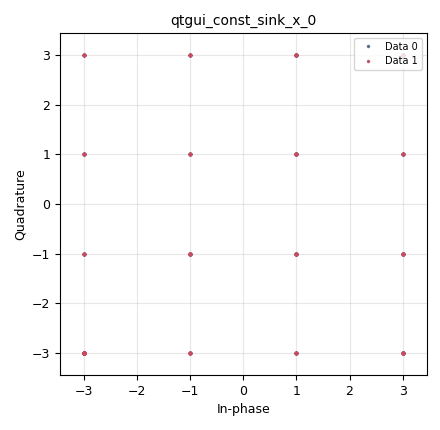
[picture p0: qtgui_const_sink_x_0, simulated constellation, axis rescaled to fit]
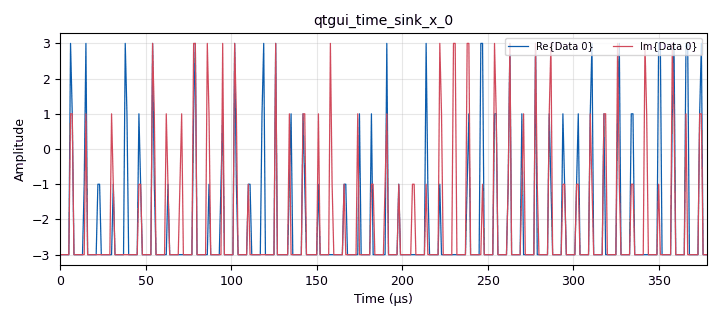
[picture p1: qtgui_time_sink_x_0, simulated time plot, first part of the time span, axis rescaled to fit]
options:
  parameters:
    generate_options: qt_gui
    id: QAM
    output_language: python
    title: Not titled yet
  states: {}

blocks:
- name: QAM16
  id: variable
  parameters:
    value: ' [-3-3j, -3-1j, -3+3j, -3+1j,-1-3j, -1-1j, -1+3j, -1+1j, 3-3j,  3-1j,  3+3j,  3+1j,1-3j,  1-1j,  1+3j,  1+1j]'
  states: {}
- name: mod_order
  id: variable
  parameters:
    value: '4'
  states: {}
- name: samp_rate
  id: variable
  parameters:
    value: '1000000'
  states: {}
- name: analog_noise_source_x_0
  id: analog_noise_source_x
  parameters:
    amp: '0'
    noise_type: analog.GR_GAUSSIAN
    seed: '0'
    type: complex
  states: {}
- name: analog_random_source_x_0
  id: analog_random_source_x
  parameters:
    max: '255'
    min: '0'
    num_samps: '1000'
    repeat: 'True'
    type: int
  states: {}
- name: analog_sig_source_x_0
  id: analog_sig_source_x
  parameters:
    amp: '1'
    freq: '0'
    offset: '0'
    phase: '0'
    samp_rate: samp_rate
    type: complex
    waveform: analog.GR_COS_WAVE
  states: {}
- name: blocks_add_xx_0
  id: blocks_add_xx
  parameters:
    type: complex
  states: {}
- name: blocks_multiply_xx_0
  id: blocks_multiply_xx
  parameters:
    type: complex
  states: {}
- name: blocks_packed_to_unpacked_xx_0
  id: blocks_packed_to_unpacked_xx
  parameters:
    bits_per_chunk: '4'
    endianness: gr.GR_MSB_FIRST
    type: int
  states: {}
- name: blocks_throttle_0
  id: blocks_throttle
  parameters:
    samples_per_second: samp_rate
    type: complex
  states: {}
- name: digital_chunks_to_symbols_xx_0
  id: digital_chunks_to_symbols_xx
  parameters:
    dimension: '1'
    in_type: int
    out_type: complex
    symbol_table: QAM16
  states: {}
- name: qtgui_const_sink_x_0
  id: qtgui_const_sink_x
  parameters:
    nconnections: '2'
    size: '1024'
    style1: '3'
    tr_slope: qtgui.TRIG_SLOPE_NEG
    type: complex
  states: {}
- name: qtgui_time_sink_x_0
  id: qtgui_time_sink_x
  parameters:
    size: '1024'
    srate: samp_rate
    type: complex
  states: {}

connections:
- [analog_noise_source_x_0, '0', blocks_add_xx_0, '1']
- [analog_random_source_x_0, '0', blocks_packed_to_unpacked_xx_0, '0']
- [analog_sig_source_x_0, '0', blocks_multiply_xx_0, '1']
- [blocks_add_xx_0, '0', blocks_multiply_xx_0, '0']
- [blocks_add_xx_0, '0', qtgui_const_sink_x_0, '0']
- [blocks_multiply_xx_0, '0', blocks_throttle_0, '0']
- [blocks_packed_to_unpacked_xx_0, '0', digital_chunks_to_symbols_xx_0, '0']
- [blocks_throttle_0, '0', qtgui_const_sink_x_0, '1']
- [blocks_throttle_0, '0', qtgui_time_sink_x_0, '0']
- [digital_chunks_to_symbols_xx_0, '0', blocks_add_xx_0, '0']

metadata:
  file_format: 1
  grc_version: 3.10.10.0
